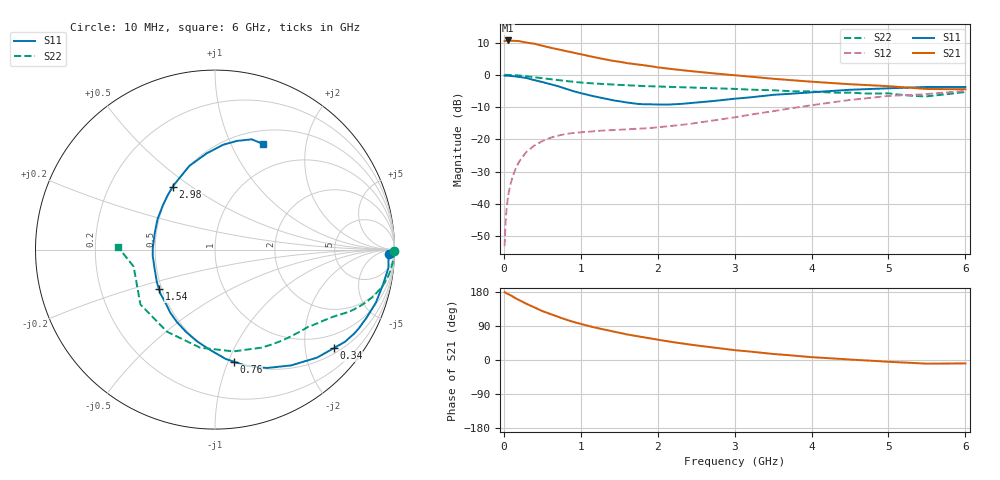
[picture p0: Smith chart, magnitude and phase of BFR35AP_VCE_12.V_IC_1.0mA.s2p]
! Infineon Technologies  Discrete & RF Semiconductors
! BFR35AP
! VCE =  12. V,  IC =  1.0 mA
! Common Emitter S-Parameters:  Nov 2015
# GHz  S  MA  R  50
!  f  S11  S21  S12  S22
! GHz  MAG  ANG  MAG  ANG  MAG  ANG  MAG  ANG
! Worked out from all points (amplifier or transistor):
!   210 points, 10 MHz to 6 GHz, reference 50 ohm
!   highest |S21| = 10.6 dB at 50 MHz (marker M1)
!   |S21| within 3 dB of that: start of sweep to 749.8 MHz
!   unconditionally stable (mu >= 1): 1.502 GHz to 3.408 GHz; 5.495109 GHz to 5.513903 GHz
!   at 185 MHz: K = 0.15, MSG = 19.0 dB, |S12| = -27.6 dB
!   at 1.52 GHz: K = 1.01, MAG = 9.9 dB, |S12| = -17.0 dB
!   at 6 GHz: K = 0.97, MSG = 0.3 dB, |S12| = -5.0 dB
!   S11 on the Smith chart (normalised r, x): 10 MHz: 43, -32; 340 MHz: 0.63, -2.64; 760 MHz: 0.50, -1.05; 1.54 GHz: 0.48, -0.25; 2.98 GHz: 0.50, +0.43; 6 GHz: 0.65, +1.33
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0.01  0.9707 -1.3  3.346 179.1  0.0022 90.8  0.9999 -0.4
0.025  0.968 -3.1  3.339 177.1  0.0057 84.6  0.9959 -1.1
0.05  0.9717 -6.0  3.406 174.6  0.0118 86.2  0.9968 -2.3
0.095  0.9564 -11.5  3.372 170.0  0.022 83.2  0.992 -4.4
0.155  0.9416 -18.8  3.344 162.6  0.0353 77.6  0.9832 -7.1
0.2  0.9259 -24.2  3.328 158.1  0.045 74.9  0.9749 -9.1
0.34  0.8599 -39.7  3.093 144.1  0.0708 65.6  0.9361 -14.5
0.4  0.828 -46.6  3.031 138.6  0.0804 62.2  0.9177 -16.7
0.5  0.7721 -56.7  2.822 129.1  0.0934 57.2  0.8843 -19.8
0.76  0.6325 -80.6  2.395 110.0  0.1177 47.1  0.8138 -25.5
0.9  0.5589 -92.9  2.203 100.6  0.1251 43.7  0.7783 -27.9
1.02  0.5126 -102.8  2.048 94.1  0.1291 41.6  0.7556 -29.7
1.22  0.4507 -119.1  1.827 84.0  0.1347 39.2  0.7269 -32.7
1.54  0.3818 -144.8  1.563 70.3  0.141 38.8  0.6935 -37.0
2.02  0.3458 177.0  1.295 52.8  0.1541 42.9  0.6575 -44.0
2.4  0.3624 152.2  1.15 41.1  0.1719 47.2  0.6359 -51.1
2.98  0.4227 123.8  0.988 26.5  0.217 50.8  0.6054 -64.1
3.1  0.4351 119.4  0.959 24.2  0.2295 50.7  0.5958 -67.5
4.1  0.5461 93.0  0.767 6.3  0.3506 45.2  0.5421 -102.8
5.1  0.623 77.1  0.653 -5.6  0.4756 29.7  0.4984 -148.1
5.5  0.6475 71.6  0.602 -9.7  0.5032 21.8  0.4631 -168.2
6  0.6468 65.8  0.597 -9.0  0.5619 16.6  0.541 178.4
